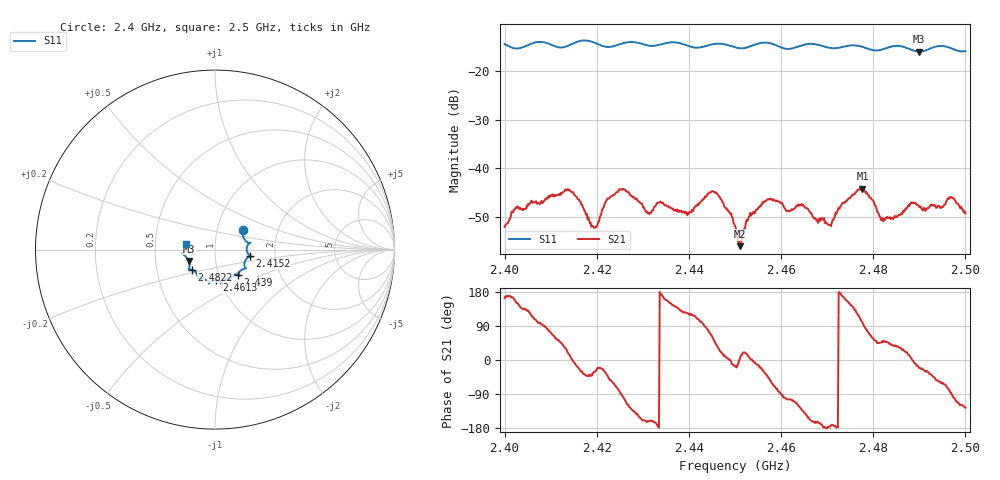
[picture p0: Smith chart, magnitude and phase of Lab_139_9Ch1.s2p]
# Hz S RI R 50
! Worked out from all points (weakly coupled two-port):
!   601 points, 2.4 GHz to 2.5 GHz, reference 50 ohm
!   highest |S21| = -44.23 dB at 2.4777 GHz (marker M1); lowest = -56.1 dB at 2.451 GHz (marker M2)
!   lowest |S11| = -15.9 dB at 2.49 GHz (marker M3), VSWR 1.38, Z = 36.9 - j4.86 ohm
!   |S11| at or under -10 dB: start of sweep to end of sweep
!   S12 and S22 are empty: the file has one direction only
!   S11 on the Smith chart (normalised r, x): 2.4 GHz: 1.33, +0.31; 2.4152 GHz: 1.48, -0.11; 2.439 GHz: 1.24, -0.36; 2.4613 GHz: 0.96, -0.34; 2.4822 GHz: 0.76, -0.17; 2.5 GHz: 0.72, +0.05
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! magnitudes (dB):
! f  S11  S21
! 2.4 GHz  -14.4  -52.1
! 2.4025 GHz  -15.3  -48.1
! 2.4152 GHz  -14.1  -45.6
! 2.4167 GHz  -13.6  -47.5
! 2.4193 GHz  -14.0  -52.3
! 2.4253 GHz  -14.3  -44.5
! 2.4312 GHz  -14.6  -49.4
! 2.4333 GHz  -14.5  -47.1
! 2.439 GHz  -14.5  -49.1
! 2.4455 GHz  -14.3  -44.9
! 2.45 GHz  -15.0  -52.0
! 2.451 GHz  -15.2  -56.1
! 2.4565 GHz  -14.0  -46.8
! 2.4613 GHz  -15.3  -48.9
! 2.4667 GHz  -14.3  -49.5
! 2.4705 GHz  -15.1  -51.8
! 2.4777 GHz  -14.9  -44.2
! 2.4822 GHz  -15.4  -51.0
! 2.4833 GHz  -15.0  -50.4
! 2.49 GHz  -15.9  -48.1
! 2.497 GHz  -15.2  -46.1
! 2.5 GHz  -15.8  -49.4
